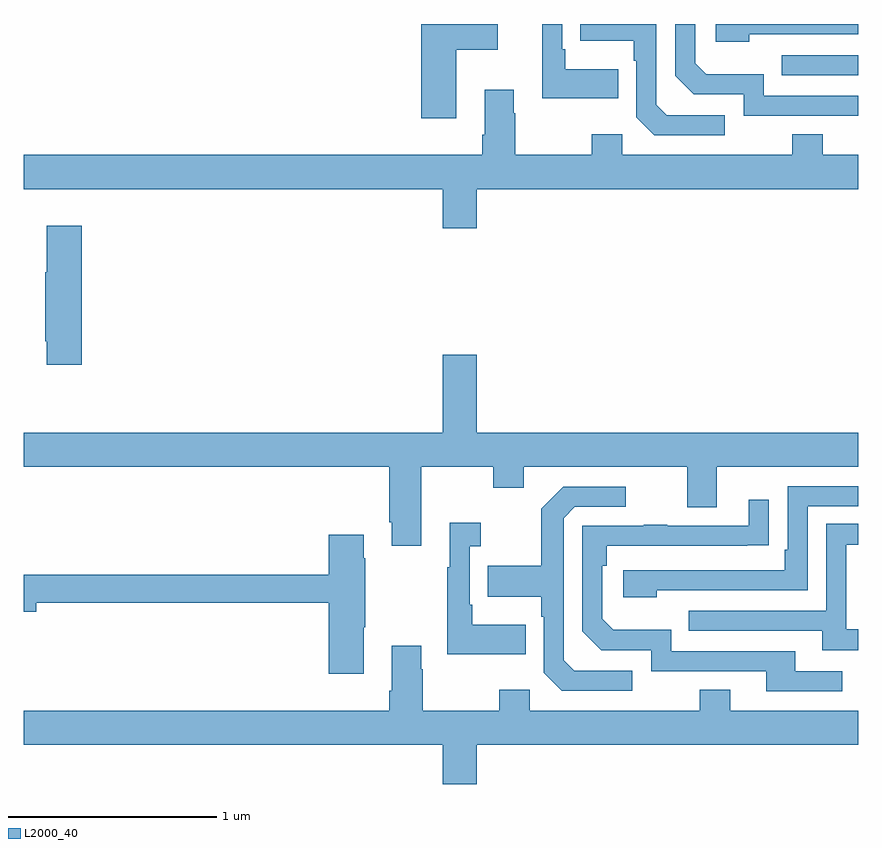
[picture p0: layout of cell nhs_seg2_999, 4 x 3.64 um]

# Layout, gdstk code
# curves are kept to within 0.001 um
import gdstk
lib = gdstk.Library(unit=1e-6, precision=1e-09)
def R(c, l, rs):  # rectangles x0, y0, x1, y1
    for r in rs: c.add(gdstk.rectangle(r[:2], r[2:], *l))
def P(c, l, *ps):  # polygons
    for p in ps: c.add(gdstk.Polygon(p, *l))
L2000_40 = (2000, 40)

nhs_seg2_999 = lib.new_cell('nhs_seg2_999')
R(nhs_seg2_999, L2000_40, [(166.633,609.555,167,609.651)])
P(nhs_seg2_999, L2000_40, [(166.478,609.75),(167,609.75),(167,609.8),(166.317,609.8),(166.317,609.716),(166.478,609.716)],
  [(166.36,609.363),(166.083,609.363),(166.032,609.414),(166.032,609.8),(165.667,609.8),(165.667,609.719),(165.924,609.719),(165.924,609.623),(165.936,609.623),(165.936,609.354),(166.023,609.267),(166.36,609.267)],
  [(167,609.456),(166.548,609.456),(166.548,609.559),(166.271,609.559),(166.218,609.612),(166.218,609.8),(166.122,609.8),(166.122,609.552),(166.212,609.462),(166.452,609.462),(166.452,609.36),(167,609.36)],
  [(165.851,609.583),(165.595,609.583),(165.595,609.679),(165.582,609.679),(165.582,609.8),(165.485,609.8),(165.485,609.443),(165.851,609.443)],
  [(165.073,609.677),(165.271,609.677),(165.271,609.8),(164.906,609.8),(164.906,609.348),(165.073,609.348)],
  [(165.172,609.008),(167,609.008),(167,609.172),(166.831,609.172),(166.831,609.271),(166.684,609.271),(166.684,609.172),(165.87,609.172),(165.87,609.271),(165.724,609.271),(165.724,609.172),(165.357,609.172),(165.357,609.371),(165.349,609.371),(165.349,609.484),(165.209,609.484),(165.209,609.268),(165.197,609.268),(165.197,609.172),(163,609.172),(163,609.008),(165.008,609.008),(165.008,608.82),(165.172,608.82)],
  [(163.277,608.833),(163.109,608.833),(163.109,608.609),(163.102,608.609),(163.102,608.278),(163.109,608.278),(163.109,608.166),(163.277,608.166)],
  [(164.905,607.676),(165.25,607.676),(165.25,607.577),(165.397,607.577),(165.397,607.676),(166.181,607.676),(166.181,607.482),(166.321,607.482),(166.321,607.676),(167,607.676),(167,607.84),(165.172,607.84),(165.172,608.215),(165.008,608.215),(165.008,607.84),(163,607.84),(163,607.676),(164.753,607.676),(164.753,607.411),(164.765,607.411),(164.765,607.299),(164.905,607.299)],
  [(166.034,607.086),(166.758,607.086),(166.758,607.488),(167,607.488),(167,607.584),(166.662,607.584),(166.662,607.279),(166.649,607.279),(166.649,607.182),(165.873,607.182),(165.873,607.052),(166.034,607.052)],
  [(165.916,606.699),(165.639,606.699),(165.588,606.75),(165.588,607.431),(165.642,607.485),(165.886,607.485),(165.886,607.581),(165.585,607.581),(165.48,607.475),(165.48,607.203),(165.223,607.203),(165.223,607.055),(165.48,607.055),(165.48,606.959),(165.492,606.959),(165.492,606.69),(165.579,606.603),(165.916,606.603)],
  [(166.924,606.696),(166.699,606.696),(166.699,606.792),(166.104,606.792),(166.104,606.895),(165.827,606.895),(165.774,606.948),(165.774,607.202),(165.794,607.202),(165.794,607.299),(166.571,607.3),(166.571,607.519),(166.475,607.519),(166.475,607.395),(166.085,607.395),(166.085,607.4),(165.973,607.4),(165.973,607.395),(165.678,607.395),(165.678,606.888),(165.768,606.798),(166.008,606.798),(166.008,606.696),(166.559,606.696),(166.559,606.6),(166.924,606.6)],
  [(165.407,606.919),(165.151,606.919),(165.151,607.015),(165.138,607.015),(165.138,607.295),(165.19,607.295),(165.19,607.408),(165.041,607.408),(165.041,607.195),(165.03,607.195),(165.03,606.779),(165.407,606.779)],
  [(167,606.897),(166.944,606.897),(166.944,607.302),(167,607.302),(167,607.403),(166.848,607.403),(166.848,606.987),(166.189,606.987),(166.189,606.891),(166.829,606.891),(166.829,606.797),(167,606.797)],
  [(164.629,606.907),(164.637,606.907),(164.637,607.238),(164.629,607.238),(164.629,607.351),(164.462,607.351),(164.462,607.16),(163,607.16),(163,606.982),(163.06,606.982),(163.06,607.024),(164.462,607.024),(164.462,606.684),(164.629,606.684)],
  [(165.172,606.344),(167,606.344),(167,606.508),(166.387,606.508),(166.387,606.607),(166.24,606.607),(166.24,606.508),(165.426,606.508),(165.426,606.607),(165.28,606.607),(165.28,606.508),(164.913,606.508),(164.913,606.707),(164.905,606.707),(164.905,606.82),(164.765,606.82),(164.765,606.604),(164.753,606.604),(164.753,606.508),(163,606.508),(163,606.344),(165.008,606.344),(165.008,606.156),(165.172,606.156)])

lib.write_gds('nhs_seg2_999.gds')
